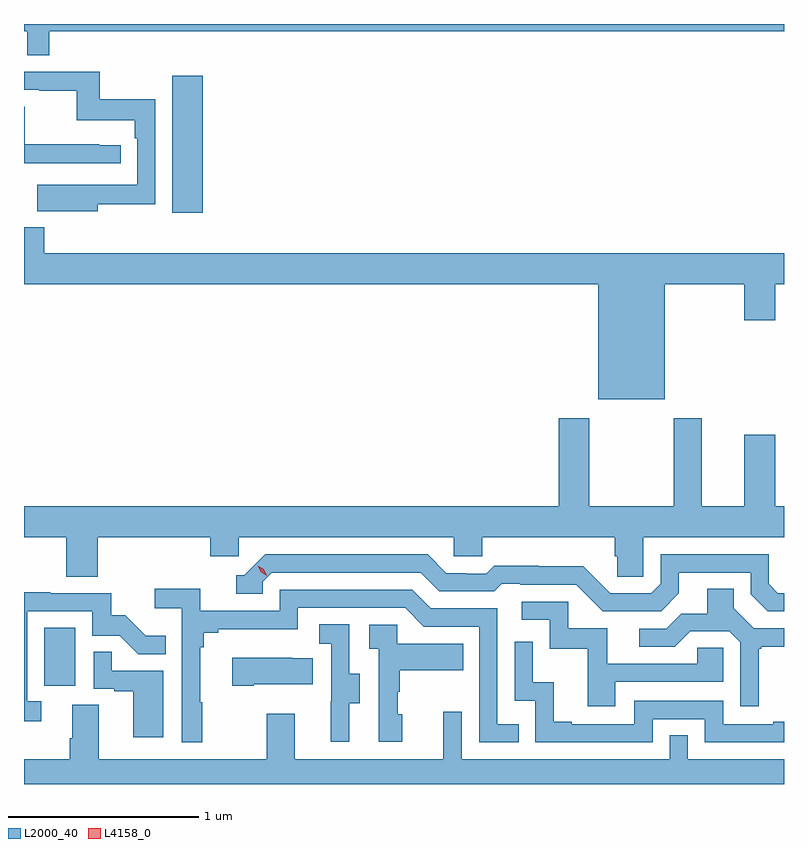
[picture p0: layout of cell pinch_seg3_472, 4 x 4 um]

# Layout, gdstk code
import gdstk
lib = gdstk.Library(unit=1e-6, precision=1e-09)
def R(c, l, rs):  # rectangles x0, y0, x1, y1
    for r in rs: c.add(gdstk.rectangle(r[:2], r[2:], *l))
def P(c, l, *ps):  # polygons
    for p in ps: c.add(gdstk.Polygon(p, *l))
L2000_40 = (2000, 40)
L4158_0 = (4158, 0)

pinch_seg3_472 = lib.new_cell('pinch_seg3_472')
R(pinch_seg3_472, L2000_40, [(952.532,670.83,952.696,671.137), (953.207,673.32,953.368,674.041)])
P(pinch_seg3_472, L2000_40, [(956.426,674.314),(952.426,674.314),(952.426,674.276),(952.443,674.276),(952.443,674.149),(952.559,674.149),(952.559,674.276),(956.426,674.276)],
  [(952.813,673.366),(953.118,673.366),(953.118,673.918),(952.825,673.918),(952.825,674.064),(952.426,674.064),(952.426,673.968),(952.507,673.968),(952.507,673.963),(952.704,673.963),(952.704,673.808),(953.009,673.808),(953.009,673.712),(953.022,673.712),(953.022,673.467),(952.709,673.467),(952.709,673.468),(952.495,673.468),(952.495,673.328),(952.813,673.328)],
  [(952.936,673.677),(952.823,673.677),(952.823,673.682),(952.43,673.682),(952.43,673.878),(952.426,673.878),(952.426,673.581),(952.936,673.581)],
  [(955.798,672.944),(956.216,672.944),(956.216,672.756),(956.38,672.756),(956.38,672.944),(956.426,672.944),(956.426,673.108),(952.532,673.108),(952.532,673.243),(952.426,673.243),(952.426,672.944),(955.448,672.944),(955.448,672.338),(955.798,672.338)],
  [(952.814,671.612),(953.405,671.612),(953.405,671.514),(953.556,671.514),(953.556,671.612),(954.687,671.612),(954.687,671.514),(954.837,671.514),(954.837,671.612),(955.535,671.612),(955.535,671.514),(955.549,671.514),(955.549,671.404),(955.686,671.404),(955.686,671.612),(956.426,671.612),(956.426,671.776),(956.38,671.776),(956.38,672.151),(956.216,672.151),(956.216,671.776),(955.993,671.776),(955.993,672.238),(955.846,672.238),(955.846,671.776),(955.401,671.776),(955.401,672.238),(955.241,672.238),(955.241,671.776),(952.426,671.776),(952.426,671.612),(952.649,671.612),(952.649,671.404),(952.814,671.404)],
  [(955.873,671.317),(955.873,671.427),(956.25,671.427),(956.25,671.313),(956.34,671.223),(956.426,671.223),(956.426,671.319),(956.394,671.319),(956.346,671.367),(956.346,671.523),(955.776,671.523),(955.776,671.367),(955.728,671.319),(955.512,671.319),(955.37,671.461),(955.134,671.461),(955.134,671.464),(954.901,671.464),(954.859,671.421),(954.756,671.421),(954.756,671.424),(954.649,671.424),(954.55,671.523),(953.697,671.523),(953.586,671.412),(953.543,671.412),(953.543,671.316),(953.682,671.316),(953.682,671.379),(953.73,671.427),(954.513,671.427),(954.612,671.328),(954.901,671.328),(954.94,671.367),(955.039,671.367),(955.039,671.364),(955.332,671.364),(955.473,671.223),(955.779,671.223)],
  [(953.365,670.745),(953.353,670.745),(953.353,671.033),(953.372,671.033),(953.372,671.11),(953.449,671.11),(953.449,671.129),(953.868,671.129),(953.868,671.241),(954.432,671.241),(954.531,671.142),(954.822,671.142),(954.822,670.533),(955.031,670.533),(955.031,670.629),(954.918,670.629),(954.918,671.238),(954.568,671.238),(954.469,671.337),(953.772,671.337),(953.772,671.226),(953.354,671.226),(953.354,671.342),(953.115,671.342),(953.115,671.24),(953.256,671.24),(953.256,670.533),(953.365,670.533)],
  [(956.293,671.025),(956.305,671.025),(956.305,671.036),(956.426,671.036),(956.426,671.133),(956.268,671.133),(956.161,671.24),(956.161,671.342),(956.021,671.342),(956.021,671.21),(955.886,671.21),(955.806,671.13),(955.665,671.13),(955.665,671.037),(955.852,671.037),(955.933,671.118),(956.139,671.118),(956.196,671.061),(956.196,670.722),(956.293,670.722)],
  [(952.516,670.749),(952.443,670.749),(952.443,671.223),(952.785,671.223),(952.785,671.094),(952.929,671.094),(953.027,670.996),(953.171,670.996),(953.171,671.095),(953.067,671.095),(952.96,671.202),(952.884,671.202),(952.884,671.319),(952.565,671.319),(952.565,671.324),(952.426,671.324),(952.426,670.644),(952.516,670.644)],
  [(955.537,670.851),(956.106,670.851),(956.106,671.031),(955.969,671.031),(955.969,670.947),(955.495,670.947),(955.495,671.133),(955.29,671.133),(955.29,671.274),(955.047,671.274),(955.047,671.178),(955.194,671.178),(955.194,671.025),(955.393,671.025),(955.393,670.722),(955.537,670.722)],
  [(954.139,670.738),(954.193,670.738),(954.193,670.893),(954.138,670.893),(954.138,671.156),(953.979,671.156),(953.979,671.053),(954.042,671.053),(954.042,670.749),(954.041,670.749),(954.041,670.536),(954.139,670.536)],
  [(954.418,670.68),(954.393,670.68),(954.393,670.799),(954.403,670.799),(954.403,670.913),(954.737,670.913),(954.737,671.053),(954.39,671.053),(954.39,671.151),(954.243,671.151),(954.243,671.027),(954.294,671.027),(954.294,670.536),(954.418,670.536)],
  [(955.734,670.656),(956.01,670.656),(956.01,670.533),(956.426,670.533),(956.426,670.642),(956.369,670.642),(956.369,670.629),(956.106,670.629),(956.106,670.752),(955.638,670.752),(955.638,670.629),(955.309,670.629),(955.309,670.642),(955.214,670.642),(955.214,670.85),(955.104,670.85),(955.104,671.062),(955.008,671.062),(955.008,670.752),(955.116,670.752),(955.116,670.533),(955.734,670.533)],
  [(953.158,670.911),(952.889,670.911),(952.889,671.009),(952.794,671.009),(952.794,670.815),(952.901,670.815),(952.901,670.803),(953,670.803),(953,670.56),(953.158,670.56)],
  [(953.635,670.838),(953.945,670.838),(953.945,670.975),(953.837,670.975),(953.837,670.978),(953.523,670.978),(953.523,670.831),(953.635,670.831)],
  [(956.426,670.444),(955.92,670.444),(955.92,670.571),(955.824,670.571),(955.824,670.444),(954.729,670.444),(954.729,670.693),(954.632,670.693),(954.632,670.444),(953.851,670.444),(953.851,670.684),(953.704,670.684),(953.704,670.444),(952.819,670.444),(952.819,670.73),(952.679,670.73),(952.679,670.556),(952.667,670.556),(952.667,670.444),(952.426,670.444),(952.426,670.314),(956.426,670.314)])
P(pinch_seg3_472, L4158_0, [(953.704,671.411),(953.673,671.431),(953.657,671.463),(953.657,671.464),(953.657,671.464),(953.688,671.444),(953.704,671.412),(953.704,671.411)])

lib.write_gds('pinch_seg3_472.gds')
